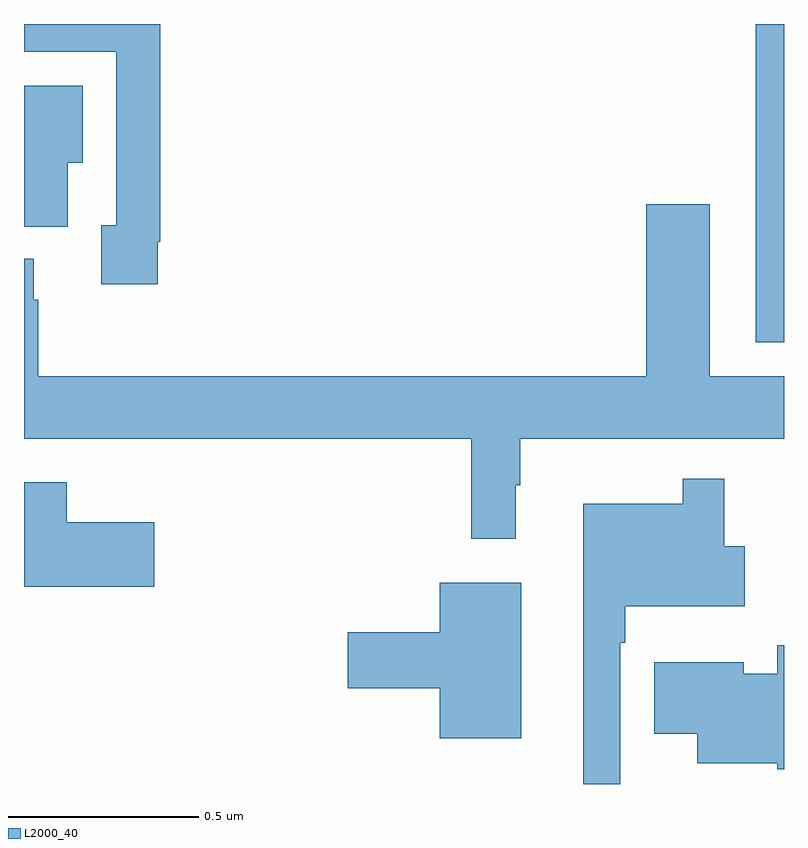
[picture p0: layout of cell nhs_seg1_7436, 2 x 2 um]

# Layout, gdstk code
import gdstk
lib = gdstk.Library(unit=1e-6, precision=1e-09)
def R(c, l, rs):  # rectangles x0, y0, x1, y1
    for r in rs: c.add(gdstk.rectangle(r[:2], r[2:], *l))
def P(c, l, *ps):  # polygons
    for p in ps: c.add(gdstk.Polygon(p, *l))
L2000_40 = (2000, 40)

nhs_seg1_7436 = lib.new_cell('nhs_seg1_7436')
R(nhs_seg1_7436, L2000_40, [(205.925,509.361,206,510.199)])
P(nhs_seg1_7436, L2000_40, [(204.352,509.626),(204.359,509.626),(204.359,510.199),(204,510.199),(204,510.126),(204.243,510.126),(204.243,509.67),(204.203,509.67),(204.203,509.514),(204.352,509.514)],
  [(204.115,509.834),(204.154,509.834),(204.154,510.037),(204,510.037),(204,509.666),(204.115,509.666)],
  [(205.294,508.985),(205.306,508.985),(205.306,509.108),(206,509.108),(206,509.272),(205.804,509.272),(205.804,509.725),(205.637,509.725),(205.637,509.272),(204.038,509.272),(204.038,509.474),(204.025,509.474),(204.025,509.581),(204,509.581),(204,509.108),(205.177,509.108),(205.177,508.845),(205.294,508.845)],
  [(205.569,508.571),(205.582,508.571),(205.582,508.667),(205.897,508.667),(205.897,508.825),(205.843,508.825),(205.843,509.002),(205.734,509.002),(205.734,508.936),(205.472,508.936),(205.472,508.199),(205.569,508.199)],
  [(204.343,508.888),(204.112,508.888),(204.112,508.993),(204,508.993),(204,508.718),(204.343,508.718)],
  [(205.309,508.729),(205.094,508.729),(205.094,508.598),(204.852,508.598),(204.852,508.451),(205.094,508.451),(205.094,508.319),(205.309,508.319)],
  [(206,508.564),(205.982,508.564),(205.982,508.489),(205.894,508.489),(205.894,508.519),(205.658,508.519),(205.658,508.331),(205.772,508.331),(205.772,508.253),(205.982,508.253),(205.982,508.238),(206,508.238)])

lib.write_gds('nhs_seg1_7436.gds')
